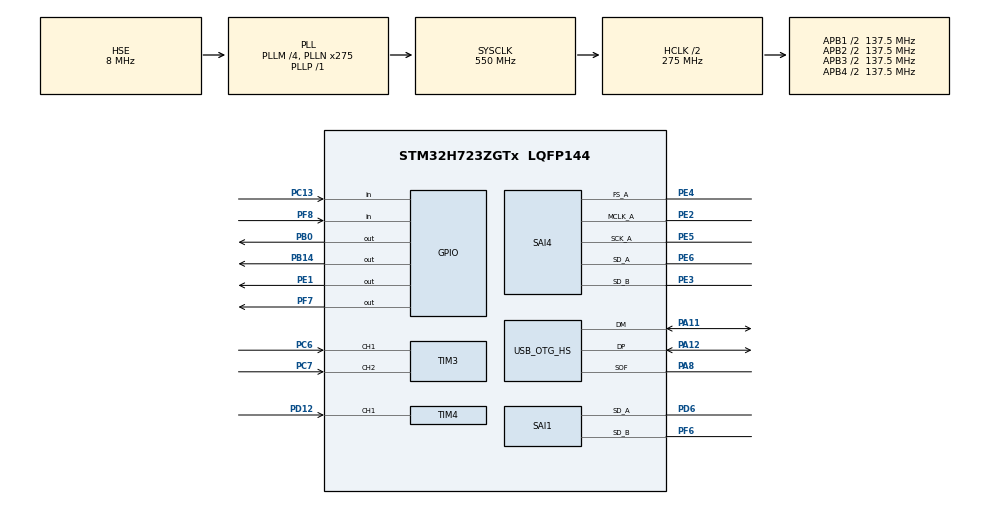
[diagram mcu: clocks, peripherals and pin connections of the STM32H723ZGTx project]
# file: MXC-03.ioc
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Bdma.Request0=SAI4_A
Bdma.Request1=SAI4_B
Bdma.RequestsNb=2
Bdma.SAI4_A.0.Direction=DMA_PERIPH_TO_MEMORY
Bdma.SAI4_A.0.EventEnable=DISABLE
Bdma.SAI4_A.0.Instance=BDMA_Channel0
Bdma.SAI4_A.0.MemDataAlignment=DMA_MDATAALIGN_WORD
Bdma.SAI4_A.0.MemInc=DMA_MINC_ENABLE
Bdma.SAI4_A.0.Mode=DMA_CIRCULAR
Bdma.SAI4_A.0.PeriphDataAlignment=DMA_PDATAALIGN_WORD
Bdma.SAI4_A.0.PeriphInc=DMA_PINC_DISABLE
Bdma.SAI4_A.0.Polarity=HAL_DMAMUX_REQ_GEN_RISING
Bdma.SAI4_A.0.Priority=DMA_PRIORITY_HIGH
Bdma.SAI4_A.0.RequestNumber=1
Bdma.SAI4_A.0.SignalID=NONE
Bdma.SAI4_A.0.SyncEnable=DISABLE
Bdma.SAI4_A.0.SyncPolarity=HAL_DMAMUX_SYNC_NO_EVENT
Bdma.SAI4_A.0.SyncRequestNumber=1
Bdma.SAI4_A.0.SyncSignalID=NONE
Bdma.SAI4_B.1.Direction=DMA_MEMORY_TO_PERIPH
Bdma.SAI4_B.1.EventEnable=DISABLE
Bdma.SAI4_B.1.Instance=BDMA_Channel1
Bdma.SAI4_B.1.MemDataAlignment=DMA_MDATAALIGN_WORD
Bdma.SAI4_B.1.MemInc=DMA_MINC_ENABLE
Bdma.SAI4_B.1.Mode=DMA_CIRCULAR
Bdma.SAI4_B.1.PeriphDataAlignment=DMA_PDATAALIGN_WORD
Bdma.SAI4_B.1.PeriphInc=DMA_PINC_DISABLE
Bdma.SAI4_B.1.Polarity=HAL_DMAMUX_REQ_GEN_RISING
Bdma.SAI4_B.1.Priority=DMA_PRIORITY_VERY_HIGH
Bdma.SAI4_B.1.RequestNumber=1
Bdma.SAI4_B.1.SignalID=NONE
Bdma.SAI4_B.1.SyncEnable=DISABLE
Bdma.SAI4_B.1.SyncPolarity=HAL_DMAMUX_SYNC_NO_EVENT
Bdma.SAI4_B.1.SyncRequestNumber=1
Bdma.SAI4_B.1.SyncSignalID=NONE
CORTEX_M7.AccessPermission_Spec=MPU_REGION_FULL_ACCESS
CORTEX_M7.BaseAddress_Spec=0x24000000
CORTEX_M7.DisableExec_Spec=MPU_INSTRUCTION_ACCESS_DISABLE
CORTEX_M7.IsShareable_Spec=MPU_ACCESS_SHAREABLE
CORTEX_M7.MPU_Control=MPU_PRIVILEGED_DEFAULT
CORTEX_M7.Size_Spec=MPU_REGION_SIZE_512KB
CORTEX_M7.SubRegionDisable_Spec=0x00
CORTEX_M7.TypeExtField_Spec=MPU_TEX_LEVEL1
CORTEX_M7.default_mode_Activation=0
Dma.Request0=SAI1_A
Dma.Request1=SAI1_B
Dma.SAI1_A.0.Direction=DMA_PERIPH_TO_MEMORY
Dma.SAI1_A.0.EventEnable=DISABLE
Dma.SAI1_A.0.FIFOMode=DMA_FIFOMODE_DISABLE
Dma.SAI1_A.0.Instance=DMA1_Stream0
Dma.SAI1_A.0.MemDataAlignment=DMA_MDATAALIGN_WORD
Dma.SAI1_A.0.MemInc=DMA_MINC_ENABLE
Dma.SAI1_A.0.Mode=DMA_CIRCULAR
Dma.SAI1_A.0.PeriphDataAlignment=DMA_PDATAALIGN_WORD
Dma.SAI1_A.0.PeriphInc=DMA_PINC_DISABLE
Dma.SAI1_A.0.Polarity=HAL_DMAMUX_REQ_GEN_RISING
Dma.SAI1_A.0.Priority=DMA_PRIORITY_VERY_HIGH
Dma.SAI1_A.0.RequestNumber=1
Dma.SAI1_A.0.SignalID=NONE
Dma.SAI1_A.0.SyncEnable=DISABLE
Dma.SAI1_A.0.SyncPolarity=HAL_DMAMUX_SYNC_NO_EVENT
Dma.SAI1_A.0.SyncRequestNumber=1
Dma.SAI1_A.0.SyncSignalID=NONE
Dma.SAI1_B.1.Direction=DMA_PERIPH_TO_MEMORY
Dma.SAI1_B.1.EventEnable=DISABLE
Dma.SAI1_B.1.FIFOMode=DMA_FIFOMODE_DISABLE
Dma.SAI1_B.1.Instance=DMA1_Stream1
Dma.SAI1_B.1.MemDataAlignment=DMA_MDATAALIGN_WORD
Dma.SAI1_B.1.MemInc=DMA_MINC_ENABLE
Dma.SAI1_B.1.Mode=DMA_CIRCULAR
Dma.SAI1_B.1.PeriphDataAlignment=DMA_PDATAALIGN_WORD
Dma.SAI1_B.1.PeriphInc=DMA_PINC_DISABLE
Dma.SAI1_B.1.Polarity=HAL_DMAMUX_REQ_GEN_RISING
Dma.SAI1_B.1.Priority=DMA_PRIORITY_VERY_HIGH
Dma.SAI1_B.1.RequestNumber=1
Dma.SAI1_B.1.SignalID=NONE
Dma.SAI1_B.1.SyncEnable=DISABLE
Dma.SAI1_B.1.SyncPolarity=HAL_DMAMUX_SYNC_NO_EVENT
Dma.SAI1_B.1.SyncRequestNumber=1
Dma.SAI1_B.1.SyncSignalID=NONE
Mcu.Family=STM32H7
Mcu.Name=STM32H723ZGTx
Mcu.Package=LQFP144
NUCLEO-H723ZG.BUTTON=1
NUCLEO-H723ZG.LD1=true
NUCLEO-H723ZG.LD2=true
NUCLEO-H723ZG.LD3=true
NUCLEO-H723ZG.VCP=true
NVIC.BDMA_Channel0_IRQn=true\:0\:0\:false\:false\:true\:false\:true\:true
NVIC.BDMA_Channel1_IRQn=true\:0\:0\:false\:false\:true\:false\:true\:true
NVIC.DMA1_Stream0_IRQn=true\:0\:0\:false\:false\:true\:false\:true\:true
NVIC.DMA1_Stream1_IRQn=true\:0\:0\:false\:false\:true\:false\:true\:true
NVIC.EXTI15_10_IRQn=true\:0\:0\:false\:false\:true\:false\:true\:true
NVIC.OTG_HS_EP1_IN_IRQn=true\:0\:0\:false\:false\:true\:true\:true\:true
NVIC.OTG_HS_EP1_OUT_IRQn=true\:0\:0\:false\:false\:true\:true\:true\:true
NVIC.OTG_HS_IRQn=true\:0\:0\:false\:false\:true\:true\:true\:true
NVIC.PriorityGroup=NVIC_PRIORITYGROUP_4
NVIC.SAI4_IRQn=true\:0\:0\:false\:false\:true\:true\:true\:true
PA11.Mode=Device_Only_FS
PA11.Signal=USB_OTG_HS_DM
PA12.Mode=Device_Only_FS
PA12.Signal=USB_OTG_HS_DP
PA13(JTMS/SWDIO).GPIO_Label=SWDIO
PA13(JTMS/SWDIO).Signal=DEBUG_JTMS-SWDIO
PA14(JTCK/SWCLK).GPIO_Label=SWCLK
PA14(JTCK/SWCLK).Signal=DEBUG_JTCK-SWCLK
PA8.Mode=Activate_SOF_FS
PA8.Signal=USB_OTG_HS_SOF
PB0.Signal=GPIO_Output
PB14.Signal=GPIO_Output
PC13.Signal=GPIO_Input
PC14-OSC32_IN.Signal=RCC_OSC32_IN
PC15-OSC32_OUT.Signal=RCC_OSC32_OUT
PC6.GPIO_PuPd=GPIO_PULLUP
PC6.Signal=S_TIM3_CH1
PC7.GPIO_PuPd=GPIO_PULLUP
PC7.Signal=S_TIM3_CH2
PD12.Signal=S_TIM4_CH1
PD6.Mode=SAI_A_SyncSlave
PD6.Signal=SAI1_SD_A
PD8.Signal=USART3_TX
PD9.Signal=USART3_RX
PE1.Signal=GPIO_Output
PE2.Mode=SAI_A_MasterWithClock
PE2.Signal=SAI4_MCLK_A
PE3.Mode=SAI_B_SyncSlave
PE3.Signal=SAI4_SD_B
PE4.Mode=SAI_A_MasterWithClock
PE4.Signal=SAI4_FS_A
PE5.Mode=SAI_A_MasterWithClock
PE5.Signal=SAI4_SCK_A
PE6.Mode=SAI_A_MasterWithClock
PE6.Signal=SAI4_SD_A
PF6.Mode=SAI_B_SyncSlave
PF6.Signal=SAI1_SD_B
PF7.Signal=GPIO_Output
PF8.GPIO_PuPd=GPIO_PULLDOWN
PF8.Signal=GPIO_Input
PH0-OSC_IN.Mode=HSE-External-Clock-Source
PH0-OSC_IN.Signal=RCC_OSC_IN
ProjectManager.HeapSize=0x200
ProjectManager.StackSize=0x400
ProjectManager.TargetToolchain=STM32CubeIDE
RCC.ADCFreq_Value=76000000
RCC.APB1Freq_Value=137500000
RCC.APB2Freq_Value=137500000
RCC.APB3Freq_Value=137500000
RCC.APB4Freq_Value=137500000
RCC.CortexFreq_Value=550000000
RCC.D1PPRE=RCC_APB3_DIV2
RCC.D2PPRE1=RCC_APB1_DIV2
RCC.D2PPRE2=RCC_APB2_DIV2
RCC.D3PPRE=RCC_APB4_DIV2
RCC.DIVM1=4
RCC.DIVM2=1
RCC.DIVM3=5
RCC.DIVN1=275
RCC.DIVN2=19
RCC.DIVN3=192
RCC.DIVP1=1
RCC.DIVP3=25
RCC.DIVQ1=4
RCC.HCLKFreq_Value=275000000
RCC.HPRE=RCC_HCLK_DIV2
RCC.HSE_VALUE=8000000
RCC.PLLFRACN=0
RCC.PLLSourceVirtual=RCC_PLLSOURCE_HSE
RCC.SAI1CLockSelection=RCC_SAI1CLKSOURCE_PLL3
RCC.SAI4ACLockSelection=RCC_SAI4ACLKSOURCE_PLL3
RCC.SAI4BCLockSelection=RCC_SAI4BCLKSOURCE_PLL3
RCC.SYSCLKFreq_VALUE=550000000
RCC.SYSCLKSource=RCC_SYSCLKSOURCE_PLLCLK
RCC.USBCLockSelection=RCC_USBCLKSOURCE_HSI48
RCC.USBFreq_Value=48000000
SAI1.BasicDataSize-SAI_A_SyncSlave=SAI_PROTOCOL_DATASIZE_32BIT
SAI1.BasicDataSize-SAI_B_SyncSlave=SAI_PROTOCOL_DATASIZE_32BIT
SAI1.InitProtocol-SAI_A_SyncSlave=Enable
SAI1.InitProtocol-SAI_B_SyncSlave=Enable
SAI1.Instance-SAI_A_SyncSlave=SAI$Index_Block_A
SAI1.Instance-SAI_B_SyncSlave=SAI$Index_Block_B
SAI1.Synchro_A=SAI_SYNCHRONOUS_EXT_SAI4
SAI1.Synchro_B=SAI_SYNCHRONOUS_EXT_SAI4
SAI1.VirtualMode-SAI_A_SyncSlave=VM_SLAVE
SAI1.VirtualMode-SAI_B_SyncSlave=VM_SLAVE
SAI1.VirtualProtocol-SAI_A_BASIC=VM_BASIC_PROTOCOL
SAI1.VirtualProtocol-SAI_B_BASIC=VM_BASIC_PROTOCOL
SAI4.AudioFrequency-SAI_A_MasterWithClock=SAI_AUDIO_FREQUENCY_48K
SAI4.AudioMode-SAI_A_MasterWithClock=SAI_MODEMASTER_RX
SAI4.AudioMode-SAI_B_SyncSlave=SAI_MODESLAVE_TX
SAI4.BasicDataSize-SAI_A_MasterWithClock=SAI_PROTOCOL_DATASIZE_32BIT
SAI4.BasicDataSize-SAI_B_SyncSlave=SAI_PROTOCOL_DATASIZE_32BIT
SAI4.ErrorAudioFreq-SAI_A_MasterWithClock=0.0 %
SAI4.InitProtocol-SAI_A_MasterWithClock=Enable
SAI4.InitProtocol-SAI_B_SyncSlave=Enable
SAI4.Instance-SAI_A_MasterWithClock=SAI$Index_Block_A
SAI4.Instance-SAI_B_SyncSlave=SAI$Index_Block_B
SAI4.MckOutput-SAI_A_MasterWithClock=SAI_MCK_OUTPUT_ENABLE
SAI4.RealAudioFreq-SAI_A_MasterWithClock=48.0 KHz
SAI4.VirtualMode-SAI_A_MasterWithClock=VM_MASTER
SAI4.VirtualMode-SAI_B_SyncSlave=VM_SLAVE
SAI4.VirtualProtocol-SAI_A_BASIC=VM_BASIC_PROTOCOL
SAI4.VirtualProtocol-SAI_B_BASIC=VM_BASIC_PROTOCOL
SH.S_TIM3_CH1.0=TIM3_CH1,Encoder_Interface
SH.S_TIM3_CH2.0=TIM3_CH2,Encoder_Interface
SH.S_TIM4_CH1.0=TIM4_CH1,TriggerSource_TI1FP1
TIM3.EncoderMode=TIM_ENCODERMODE_TI12
TIM3.IC1Filter=10
TIM3.IC2Filter=10
TIM3.TIM_MasterSlaveMode=TIM_MASTERSLAVEMODE_DISABLE
USB_DEVICE.CLASS_NAME_HS=AUDIO
USB_DEVICE.PRODUCT_STRING_AUDIO_HS=MXC-03
USB_DEVICE.USBD_AUDIO_FREQ=48000
USB_DEVICE.VirtualMode=Audio
USB_DEVICE.VirtualModeHS=Audio_HS
USB_OTG_HS.VirtualMode-Device_Only_FS=Device_Only_FS
USB_OTG_HS.dma_enable-Device_Only_FS=DISABLE
VP_MEMORYMAP_VS_MEMORYMAP.Mode=CurAppReg
VP_NUCLEO-H723ZG_VS_BSP_COMMON.Mode=COMMON
VP_SAI1_VP_$IpInstance_SAIA_SAI_BASIC.Mode=SAI_A_BASIC
VP_SAI1_VP_$IpInstance_SAIB_SAI_BASIC.Mode=SAI_B_BASIC
VP_SAI4_VP_$IpInstance_SAIA_SAI_BASIC.Mode=SAI_A_BASIC
VP_SAI4_VP_$IpInstance_SAIB_SAI_BASIC.Mode=SAI_B_BASIC
VP_TIM4_VS_ControllerModeClock.Mode=Clock Mode
VP_USB_DEVICE_VS_USB_DEVICE_AUDIO_HS.Mode=AUDIO_HS
board=NUCLEO-H723ZG

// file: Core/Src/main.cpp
/* USER CODE BEGIN Header */
/**
 ******************************************************************************
 * @file           : main.cpp
 * @brief          : Main program body
 ******************************************************************************
 * @attention
 *
 * Copyright (c) 2026 STMicroelectronics.
 * All rights reserved.
 *
 * This software is licensed under terms that can be found in the LICENSE file
 * in the root directory of this software component.
 * If no LICENSE file comes with this software, it is provided AS-IS.
 *
 ******************************************************************************
 */
/* USER CODE END Header */
#include "main.h"
#include "usb_device.h"

/* USER CODE BEGIN Includes */
#include "audio_system.hpp"
#include "effects_chain.hpp"
#include "ui_controller.hpp"
#include "ui_input_manager.hpp"
#include "usbd_audio.h"

/* USER CODE END Includes */

/* USER CODE BEGIN PD */
namespace LinkSync {
constexpr uint16_t DummyPatternWord{0x96A5};
constexpr uint32_t StableBlocksRequired{8};
constexpr uint32_t LockCheckWords{32};
constexpr uint32_t FrontUsbFadeInFrames{AudioConfig::SampleRate / 50U};
}

/* USER CODE END PD */

COM_InitTypeDef BspCOMInit;

SAI_HandleTypeDef hsai_BlockA1;
SAI_HandleTypeDef hsai_BlockB1;
SAI_HandleTypeDef hsai_BlockA4;
SAI_HandleTypeDef hsai_BlockB4;
DMA_HandleTypeDef hdma_sai1_a;
DMA_HandleTypeDef hdma_sai1_b;
DMA_HandleTypeDef hdma_sai4_a;
DMA_HandleTypeDef hdma_sai4_b;

TIM_HandleTypeDef htim3;
TIM_HandleTypeDef htim4;

/* USER CODE BEGIN PV */
extern UART_HandleTypeDef hcom_uart[];
volatile uint32_t gFrontUsbStableBlocks{0};
volatile uint32_t gFrontUsbLockAcquired{0};
volatile uint32_t gF411ReadyWasAsserted{0};
volatile uint32_t gFrontUsbFadeFrameIndex{0};
volatile uint32_t gFrontUsbFadeActive{0};
volatile uint32_t g_debug_samples_in = 0;
volatile uint32_t g_debug_samples_out = 0;
volatile uint32_t g_debug_dma_half_callbacks = 0;
volatile uint32_t g_debug_dma_full_callbacks = 0;

volatile uint32_t debug{0};
/* USER CODE END PV */

void SystemClock_Config(void);
void PeriphCommonClock_Config(void);
static void MPU_Config(void);
static void MX_GPIO_Init(void);
static void MX_DMA_Init(void);
static void MX_BDMA_Init(void);
static void MX_TIM3_Init(void);
static void MX_SAI1_Init(void);
static void MX_SAI4_Init(void);
static void MX_TIM4_Init(void);

/* USER CODE BEGIN 0 */
static void setH723Ready(bool active) {
  HAL_GPIO_WritePin(H723_READY_OUT_GPIO_Port, H723_READY_OUT_Pin,
                    active ? GPIO_PIN_SET : GPIO_PIN_RESET);
}

static bool isF411ReadyAsserted() {
  return HAL_GPIO_ReadPin(F411_READY_IN_GPIO_Port, F411_READY_IN_Pin) ==
         GPIO_PIN_SET;
}

static void clearFrontUsbLockState() {
  gFrontUsbStableBlocks = 0;
  gFrontUsbLockAcquired = 0;
  gFrontUsbFadeFrameIndex = 0;
  gFrontUsbFadeActive = 0;
  setH723Ready(false);
}

static void clearFrontUsbRxBuffer() {
  std::fill(frontUSBRxBuffer.begin(), frontUSBRxBuffer.end(), 0);
}

static bool isDummyPatternStable(uint32_t start) {
  const uint32_t maxWords = AudioConfig::DMABufferSize - start;
  const uint32_t wordsToCheck =
      (LinkSync::LockCheckWords < maxWords) ? LinkSync::LockCheckWords
                                            : maxWords;

  for (uint32_t i = 0; i < wordsToCheck; ++i) {
    const uint16_t sample =
        static_cast<uint16_t>(frontUSBRxBuffer[start + i] & 0xFFFF);
    if (sample != LinkSync::DummyPatternWord) {
      return false;
    }
  }

  return true;
}

static void analyzeFrontUsbBlock(uint32_t start) {
  if (!isF411ReadyAsserted()) {
    clearFrontUsbLockState();
    return;
  }

  const bool isStableBlock = isDummyPatternStable(start);

  if (isStableBlock) {
    if (gFrontUsbStableBlocks < LinkSync::StableBlocksRequired) {
      ++gFrontUsbStableBlocks;
    }
  } else {
    gFrontUsbStableBlocks = 0;
  }

  if (gFrontUsbStableBlocks >= LinkSync::StableBlocksRequired) {
    if (gFrontUsbLockAcquired == 0U) {
      gFrontUsbFadeFrameIndex = 0;
      gFrontUsbFadeActive = 1;
      gFrontUsbLockAcquired = 1;
      setH723Ready(true);
    }
  }
}

/* USER CODE END 0 */

int main(void)
{

  /* USER CODE BEGIN 1 */
  // Initialize effects chain
  FX::initializeChain();

  // Initialize UI
  UI::initialize();
  /* USER CODE END 1 */

  /* MPU Configuration--------------------------------------------------------*/
  MPU_Config();

  /* MCU Configuration--------------------------------------------------------*/

  /* Reset of all peripherals, Initializes the Flash interface and the Systick. */
  HAL_Init();

  /* Configure the system clock */
  SystemClock_Config();

  /* Configure the peripherals common clocks */
  PeriphCommonClock_Config();

  /* Initialize all configured peripherals */
  MX_GPIO_Init();
  MX_DMA_Init();
  MX_BDMA_Init();
  MX_TIM3_Init();
  MX_USB_DEVICE_Init();
  MX_SAI1_Init();
  MX_SAI4_Init();
  MX_TIM4_Init();
  /* USER CODE BEGIN 2 */
  auto *pMonitorTx{reinterpret_cast<uint8_t *>(monitorTxBuffer.data())};
  auto *pADCRx{reinterpret_cast<uint8_t *>(ADCRxBuffer.data())};
  auto *pFrontUSBRx{reinterpret_cast<uint8_t *>(frontUSBRxBuffer.data())};
  auto *pRearUSBRx{reinterpret_cast<uint8_t *>(rearUSBRxBuffer.data())};

  setH723Ready(false);

  // Arm SAI1 RX first so H723 is ready to capture immediately when F411 starts.
  if (HAL_SAI_Receive_DMA(&hsai_BlockA1, pFrontUSBRx,
                          AudioConfig::DMABufferSize) != HAL_OK) {
    Error_Handler();
  }
  if (HAL_SAI_Receive_DMA(&hsai_BlockB1, pRearUSBRx,
                          AudioConfig::DMABufferSize) != HAL_OK) {
    Error_Handler();
  }

  // Start SAI4 path immediately so H723 can run standalone.
  if (HAL_SAI_Transmit_DMA(&hsai_BlockB4, pMonitorTx,
                           AudioConfig::DMABufferSize) != HAL_OK) {
    Error_Handler();
  }
  if (HAL_SAI_Receive_DMA(&hsai_BlockA4, pADCRx, AudioConfig::DMABufferSize) !=
      HAL_OK) {
    Error_Handler();
  }
  if (HAL_TIM_Base_Start(&htim4) != HAL_OK) {
    Error_Handler();
  }
  if (HAL_TIM_Encoder_Start(&htim3, TIM_CHANNEL_ALL) != HAL_OK) {
    Error_Handler();
  }

  UI::render();
  /* USER CODE END 2 */

  /* Initialize leds */
  BSP_LED_Init(LED_GREEN);
  BSP_LED_Init(LED_YELLOW);
  BSP_LED_Init(LED_RED);

  /* Initialize USER push-button, will be used to trigger an interrupt each time it's pressed.*/
  BSP_PB_Init(BUTTON_USER, BUTTON_MODE_EXTI);

  /* Initialize COM1 port (115200, 8 bits (7-bit data + 1 stop bit), no parity */
  BspCOMInit.BaudRate   = 115200;
  BspCOMInit.WordLength = COM_WORDLENGTH_8B;
  BspCOMInit.StopBits   = COM_STOPBITS_1;
  BspCOMInit.Parity     = COM_PARITY_NONE;
  BspCOMInit.HwFlowCtl  = COM_HWCONTROL_NONE;
  if (BSP_COM_Init(COM1, &BspCOMInit) != BSP_ERROR_NONE)
  {
    Error_Handler();
  }

  /* Infinite loop */
  /* USER CODE BEGIN WHILE */
  HAL_NVIC_SetPriority(USART3_IRQn, 0, 0);
  HAL_NVIC_EnableIRQ(USART3_IRQn);
  UiInput::initialize(htim3, hcom_uart[COM1]);
  gF411ReadyWasAsserted = isF411ReadyAsserted() ? 1U : 0U;

  while (1) {
    const bool isReadyNow = isF411ReadyAsserted();
    if (!isReadyNow) {
      if (gF411ReadyWasAsserted != 0U) {
        clearFrontUsbRxBuffer();
      }

      if (gFrontUsbLockAcquired != 0U || gFrontUsbStableBlocks != 0U) {
        clearFrontUsbLockState();
      }
    }
    gF411ReadyWasAsserted = isReadyNow ? 1U : 0U;

    debug = (int32_t)mainUSBRxBuffer.getAvailableFrames();

    UiInput::processLoop();
    /* USER CODE END WHILE */

  }
}

void SystemClock_Config(void)
{
  RCC_OscInitTypeDef RCC_OscInitStruct = {0};
  RCC_ClkInitTypeDef RCC_ClkInitStruct = {0};

  /** Supply configuration update enable
  */
  HAL_PWREx_ConfigSupply(PWR_LDO_SUPPLY);

  /** Configure the main internal regulator output voltage
  */
  __HAL_PWR_VOLTAGESCALING_CONFIG(PWR_REGULATOR_VOLTAGE_SCALE0);

  while(!__HAL_PWR_GET_FLAG(PWR_FLAG_VOSRDY)) {}

  /** Initializes the RCC Oscillators according to the specified parameters
  * in the RCC_OscInitTypeDef structure.
  */
  RCC_OscInitStruct.OscillatorType = RCC_OSCILLATORTYPE_HSI48|RCC_OSCILLATORTYPE_HSE;
  RCC_OscInitStruct.HSEState = RCC_HSE_BYPASS;
  RCC_OscInitStruct.HSI48State = RCC_HSI48_ON;
  RCC_OscInitStruct.PLL.PLLState = RCC_PLL_ON;
  RCC_OscInitStruct.PLL.PLLSource = RCC_PLLSOURCE_HSE;
  RCC_OscInitStruct.PLL.PLLM = 4;
  RCC_OscInitStruct.PLL.PLLN = 275;
  RCC_OscInitStruct.PLL.PLLP = 1;
  RCC_OscInitStruct.PLL.PLLQ = 4;
  RCC_OscInitStruct.PLL.PLLR = 2;
  RCC_OscInitStruct.PLL.PLLRGE = RCC_PLL1VCIRANGE_1;
  RCC_OscInitStruct.PLL.PLLVCOSEL = RCC_PLL1VCOWIDE;
  RCC_OscInitStruct.PLL.PLLFRACN = 0;
  if (HAL_RCC_OscConfig(&RCC_OscInitStruct) != HAL_OK)
  {
    Error_Handler();
  }

  /** Initializes the CPU, AHB and APB buses clocks
  */
  RCC_ClkInitStruct.ClockType = RCC_CLOCKTYPE_HCLK|RCC_CLOCKTYPE_SYSCLK
                              |RCC_CLOCKTYPE_PCLK1|RCC_CLOCKTYPE_PCLK2
                              |RCC_CLOCKTYPE_D3PCLK1|RCC_CLOCKTYPE_D1PCLK1;
  RCC_ClkInitStruct.SYSCLKSource = RCC_SYSCLKSOURCE_PLLCLK;
  RCC_ClkInitStruct.SYSCLKDivider = RCC_SYSCLK_DIV1;
  RCC_ClkInitStruct.AHBCLKDivider = RCC_HCLK_DIV2;
  RCC_ClkInitStruct.APB3CLKDivider = RCC_APB3_DIV2;
  RCC_ClkInitStruct.APB1CLKDivider = RCC_APB1_DIV2;
  RCC_ClkInitStruct.APB2CLKDivider = RCC_APB2_DIV2;
  RCC_ClkInitStruct.APB4CLKDivider = RCC_APB4_DIV2;

  if (HAL_RCC_ClockConfig(&RCC_ClkInitStruct, FLASH_LATENCY_3) != HAL_OK)
  {
    Error_Handler();
  }
}

void PeriphCommonClock_Config(void)
{
  RCC_PeriphCLKInitTypeDef PeriphClkInitStruct = {0};

  /** Initializes the peripherals clock
  */
  PeriphClkInitStruct.PeriphClockSelection = RCC_PERIPHCLK_SAI4A|RCC_PERIPHCLK_SAI4B
                              |RCC_PERIPHCLK_SAI1;
  PeriphClkInitStruct.PLL3.PLL3M = 5;
  PeriphClkInitStruct.PLL3.PLL3N = 190;
  PeriphClkInitStruct.PLL3.PLL3P = 25;
  PeriphClkInitStruct.PLL3.PLL3Q = 2;
  PeriphClkInitStruct.PLL3.PLL3R = 2;
  PeriphClkInitStruct.PLL3.PLL3RGE = RCC_PLL3VCIRANGE_0;
  PeriphClkInitStruct.PLL3.PLL3VCOSEL = RCC_PLL3VCOMEDIUM;
  PeriphClkInitStruct.PLL3.PLL3FRACN = 3385;
  PeriphClkInitStruct.Sai1ClockSelection = RCC_SAI1CLKSOURCE_PLL3;
  PeriphClkInitStruct.Sai4AClockSelection = RCC_SAI4ACLKSOURCE_PLL3;
  PeriphClkInitStruct.Sai4BClockSelection = RCC_SAI4BCLKSOURCE_PLL3;
  if (HAL_RCCEx_PeriphCLKConfig(&PeriphClkInitStruct) != HAL_OK)
  {
    Error_Handler();
  }
}

static void MX_SAI1_Init(void)
{

  hsai_BlockA1.Instance = SAI1_Block_A;
  hsai_BlockA1.Init.AudioMode = SAI_MODESLAVE_RX;
  hsai_BlockA1.Init.Synchro = SAI_SYNCHRONOUS_EXT_SAI4;
  hsai_BlockA1.Init.OutputDrive = SAI_OUTPUTDRIVE_DISABLE;
  hsai_BlockA1.Init.FIFOThreshold = SAI_FIFOTHRESHOLD_EMPTY;
  hsai_BlockA1.Init.MonoStereoMode = SAI_STEREOMODE;
  hsai_BlockA1.Init.CompandingMode = SAI_NOCOMPANDING;
  hsai_BlockA1.Init.TriState = SAI_OUTPUT_NOTRELEASED;
  if (HAL_SAI_InitProtocol(&hsai_BlockA1, SAI_I2S_STANDARD,
                           SAI_PROTOCOL_DATASIZE_16BITEXTENDED, 2) != HAL_OK) {
    Error_Handler();
  }
  hsai_BlockB1.Instance = SAI1_Block_B;
  hsai_BlockB1.Init.AudioMode = SAI_MODESLAVE_RX;
  hsai_BlockB1.Init.Synchro = SAI_SYNCHRONOUS_EXT_SAI4;
  hsai_BlockB1.Init.OutputDrive = SAI_OUTPUTDRIVE_DISABLE;
  hsai_BlockB1.Init.FIFOThreshold = SAI_FIFOTHRESHOLD_EMPTY;
  hsai_BlockB1.Init.MonoStereoMode = SAI_STEREOMODE;
  hsai_BlockB1.Init.CompandingMode = SAI_NOCOMPANDING;
  hsai_BlockB1.Init.TriState = SAI_OUTPUT_NOTRELEASED;
  if (HAL_SAI_InitProtocol(&hsai_BlockB1, SAI_I2S_STANDARD,
                           SAI_PROTOCOL_DATASIZE_16BITEXTENDED, 2) != HAL_OK) {
    Error_Handler();
  }

}

static void MX_SAI4_Init(void)
{

  hsai_BlockA4.Instance = SAI4_Block_A;
  hsai_BlockA4.Init.AudioMode = SAI_MODEMASTER_RX;
  hsai_BlockA4.Init.Synchro = SAI_ASYNCHRONOUS;
  hsai_BlockA4.Init.OutputDrive = SAI_OUTPUTDRIVE_DISABLE;
  hsai_BlockA4.Init.NoDivider = SAI_MASTERDIVIDER_ENABLE;
  hsai_BlockA4.Init.FIFOThreshold = SAI_FIFOTHRESHOLD_EMPTY;
  hsai_BlockA4.Init.AudioFrequency = SAI_AUDIO_FREQUENCY_48K;
  hsai_BlockA4.Init.SynchroExt = SAI_SYNCEXT_OUTBLOCKA_ENABLE;
  hsai_BlockA4.Init.MonoStereoMode = SAI_STEREOMODE;
  hsai_BlockA4.Init.CompandingMode = SAI_NOCOMPANDING;
  if (HAL_SAI_InitProtocol(&hsai_BlockA4, SAI_I2S_STANDARD,
                           SAI_PROTOCOL_DATASIZE_32BIT, 2) != HAL_OK) {
    Error_Handler();
  }
  hsai_BlockB4.Instance = SAI4_Block_B;
  hsai_BlockB4.Init.AudioMode = SAI_MODESLAVE_TX;
  hsai_BlockB4.Init.Synchro = SAI_SYNCHRONOUS;
  hsai_BlockB4.Init.OutputDrive = SAI_OUTPUTDRIVE_DISABLE;
  hsai_BlockB4.Init.FIFOThreshold = SAI_FIFOTHRESHOLD_EMPTY;
  hsai_BlockB4.Init.SynchroExt = SAI_SYNCEXT_OUTBLOCKA_ENABLE;
  hsai_BlockB4.Init.MonoStereoMode = SAI_STEREOMODE;
  hsai_BlockB4.Init.CompandingMode = SAI_NOCOMPANDING;
  hsai_BlockB4.Init.TriState = SAI_OUTPUT_NOTRELEASED;
  if (HAL_SAI_InitProtocol(&hsai_BlockB4, SAI_I2S_STANDARD,
                           SAI_PROTOCOL_DATASIZE_32BIT, 2) != HAL_OK) {
    Error_Handler();
  }

}

static void MX_TIM3_Init(void)
{

  TIM_Encoder_InitTypeDef sConfig = {0};
  TIM_MasterConfigTypeDef sMasterConfig = {0};

  htim3.Instance = TIM3;
  htim3.Init.Prescaler = 0;
  htim3.Init.CounterMode = TIM_COUNTERMODE_UP;
  htim3.Init.Period = 65535;
  htim3.Init.ClockDivision = TIM_CLOCKDIVISION_DIV1;
  htim3.Init.AutoReloadPreload = TIM_AUTORELOAD_PRELOAD_DISABLE;
  sConfig.EncoderMode = TIM_ENCODERMODE_TI12;
  sConfig.IC1Polarity = TIM_ICPOLARITY_RISING;
  sConfig.IC1Selection = TIM_ICSELECTION_DIRECTTI;
  sConfig.IC1Prescaler = TIM_ICPSC_DIV1;
  sConfig.IC1Filter = 10;
  sConfig.IC2Polarity = TIM_ICPOLARITY_RISING;
  sConfig.IC2Selection = TIM_ICSELECTION_DIRECTTI;
  sConfig.IC2Prescaler = TIM_ICPSC_DIV1;
  sConfig.IC2Filter = 10;
  if (HAL_TIM_Encoder_Init(&htim3, &sConfig) != HAL_OK)
  {
    Error_Handler();
  }
  sMasterConfig.MasterOutputTrigger = TIM_TRGO_RESET;
  sMasterConfig.MasterSlaveMode = TIM_MASTERSLAVEMODE_DISABLE;
  if (HAL_TIMEx_MasterConfigSynchronization(&htim3, &sMasterConfig) != HAL_OK)
  {
    Error_Handler();
  }

}

static void MX_TIM4_Init(void)
{

  TIM_SlaveConfigTypeDef sSlaveConfig = {0};
  TIM_MasterConfigTypeDef sMasterConfig = {0};
  TIM_IC_InitTypeDef sICConfig = {0};

  htim4.Instance = TIM4;
  htim4.Init.Prescaler = 0;
  htim4.Init.CounterMode = TIM_COUNTERMODE_UP;
  htim4.Init.Period = 65535;
  htim4.Init.ClockDivision = TIM_CLOCKDIVISION_DIV1;
  htim4.Init.AutoReloadPreload = TIM_AUTORELOAD_PRELOAD_DISABLE;
  if (HAL_TIM_Base_Init(&htim4) != HAL_OK)
  {
    Error_Handler();
  }
  sSlaveConfig.SlaveMode = TIM_SLAVEMODE_EXTERNAL1;
  sSlaveConfig.InputTrigger = TIM_TS_TI1FP1;
  sSlaveConfig.TriggerPolarity = TIM_TRIGGERPOLARITY_RISING;
  sSlaveConfig.TriggerFilter = 0;
  if (HAL_TIM_SlaveConfigSynchro(&htim4, &sSlaveConfig) != HAL_OK)
  {
    Error_Handler();
  }
  sICConfig.ICPolarity = TIM_INPUTCHANNELPOLARITY_RISING;
  sICConfig.ICSelection = TIM_ICSELECTION_DIRECTTI;
  sICConfig.ICPrescaler = TIM_ICPSC_DIV1;
  sICConfig.ICFilter = 0;
  if (HAL_TIM_IC_ConfigChannel(&htim4, &sICConfig, TIM_CHANNEL_1) != HAL_OK)
  {
    Error_Handler();
  }
  sMasterConfig.MasterOutputTrigger = TIM_TRGO_RESET;
  sMasterConfig.MasterSlaveMode = TIM_MASTERSLAVEMODE_DISABLE;
  if (HAL_TIMEx_MasterConfigSynchronization(&htim4, &sMasterConfig) != HAL_OK)
  {
    Error_Handler();
  }

}

static void MX_BDMA_Init(void)
{

  /* DMA controller clock enable */
  __HAL_RCC_BDMA_CLK_ENABLE();

  /* DMA interrupt init */
  /* BDMA_Channel0_IRQn interrupt configuration */
  HAL_NVIC_SetPriority(BDMA_Channel0_IRQn, 0, 0);
  HAL_NVIC_EnableIRQ(BDMA_Channel0_IRQn);
  /* BDMA_Channel1_IRQn interrupt configuration */
  HAL_NVIC_SetPriority(BDMA_Channel1_IRQn, 0, 0);
  HAL_NVIC_EnableIRQ(BDMA_Channel1_IRQn);

}

static void MX_DMA_Init(void)
{

  /* DMA controller clock enable */
  __HAL_RCC_DMA1_CLK_ENABLE();

  /* DMA interrupt init */
  /* DMA1_Stream0_IRQn interrupt configuration */
  HAL_NVIC_SetPriority(DMA1_Stream0_IRQn, 0, 0);
  HAL_NVIC_EnableIRQ(DMA1_Stream0_IRQn);
  /* DMA1_Stream1_IRQn interrupt configuration */
  HAL_NVIC_SetPriority(DMA1_Stream1_IRQn, 0, 0);
  HAL_NVIC_EnableIRQ(DMA1_Stream1_IRQn);

}

static void MX_GPIO_Init(void)
{
  GPIO_InitTypeDef GPIO_InitStruct = {0};

  /* GPIO Ports Clock Enable */
  __HAL_RCC_GPIOE_CLK_ENABLE();
  __HAL_RCC_GPIOC_CLK_ENABLE();
  __HAL_RCC_GPIOF_CLK_ENABLE();
  __HAL_RCC_GPIOH_CLK_ENABLE();
  __HAL_RCC_GPIOD_CLK_ENABLE();
  __HAL_RCC_GPIOA_CLK_ENABLE();

  /*Configure GPIO pin Output Level */
  HAL_GPIO_WritePin(GPIOF, GPIO_PIN_7, GPIO_PIN_RESET);

  /*Configure GPIO pin : PF7 */
  GPIO_InitStruct.Pin = GPIO_PIN_7;
  GPIO_InitStruct.Mode = GPIO_MODE_OUTPUT_PP;
  GPIO_InitStruct.Pull = GPIO_NOPULL;
  GPIO_InitStruct.Speed = GPIO_SPEED_FREQ_LOW;
  HAL_GPIO_Init(GPIOF, &GPIO_InitStruct);

  /*Configure GPIO pin : PF8 */
  GPIO_InitStruct.Pin = GPIO_PIN_8;
  GPIO_InitStruct.Mode = GPIO_MODE_INPUT;
  GPIO_InitStruct.Pull = GPIO_PULLDOWN;
  HAL_GPIO_Init(GPIOF, &GPIO_InitStruct);

}

/* USER CODE BEGIN 4 */

// --- Hardware / HAL Callbacks (C Linkage) ---
// These functions must use C linkage to be visible to the STM32 HAL drivers.
extern "C" {
void mainUSBRxBufferReset() { mainUSBRxBuffer.reset(); }
void mainUSBRxBufferWrite(int16_t *data, uint32_t length) {
  mainUSBRxBuffer.write(data, length);
}

int32_t mainUSBRxBufferGetAvailableFrames(void) {
  return (int32_t)mainUSBRxBuffer.getAvailableFrames();
}

uint32_t mainUSBTxBufferReadBlock(int16_t *dest, uint32_t samples_to_read) {
	// 1フレーム = 2サンプル(Stereo) なので、必要なフレーム数は samples_to_read / 2
	uint32_t frames_to_read = samples_to_read / 2U;

	if (mainUSBTxBuffer.getAvailableFrames() < frames_to_read) {
		return 0U; // アンダーラン
	}

	// ブロック読み出し: read(T* dest, size_t count)
	// ※引数が「サンプル数」指定なら samples_to_read、「フレーム数」指定なら frames_to_read を渡してください
	// 一般的な AudioRingBuffer 実装に合わせて samples_to_read を渡す例:
	mainUSBTxBuffer.read(dest, samples_to_read);
	return samples_to_read;
}

uint32_t mainUSBTxBufferGetCount(void) {
	// 利用可能なサンプル数を返す (フレーム数 * 2)
	return static_cast<uint32_t>(mainUSBTxBuffer.getAvailableFrames() * 2U);
}

static void processADCMonoLeftChannelInput(uint32_t start,
                                                  uint32_t numFrames) {
  for (uint32_t i = start, j = 0; j < numFrames; ++j, i += 2) {
    float32_t leftSample{static_cast<float32_t>(ADCRxBuffer[i]) *
                         Audio::Convert::Int32ToFloat};
    Mixer::chLeft[j] = leftSample * Mixer::param.gainADCLeft;
    Mixer::chRight[j] = leftSample * Mixer::param.gainADCLeft;
  }
}

static void processADCMonoRightChannelInput(uint32_t start,
                                                   uint32_t numFrames) {
  for (uint32_t i = start, j = 0; j < numFrames; ++j, i += 2) {
    float32_t rightSample{static_cast<float32_t>(ADCRxBuffer[i + 1]) *
                          Audio::Convert::Int32ToFloat};
    Mixer::chLeft[j] += rightSample * Mixer::param.gainADCRight;
    Mixer::chRight[j] += rightSample * Mixer::param.gainADCRight;
  }
}

[[maybe_unused]] static void processADCStereoInput(uint32_t start,
                                                   uint32_t numFrames) {
  for (uint32_t i = start, j = 0; j < numFrames; ++j, i += 2) {
    float32_t leftSample{static_cast<float32_t>(ADCRxBuffer[i]) *
                         Audio::Convert::Int32ToFloat};
    float32_t rightSample{static_cast<float32_t>(ADCRxBuffer[i + 1]) *
                          Audio::Convert::Int32ToFloat};

    Mixer::chLeft[j] = leftSample * Mixer::param.gainADCLeft;
    Mixer::chRight[j] = rightSample * Mixer::param.gainADCRight;
  }
}

static void processFX(uint32_t numFrames) {
  for (uint32_t i = 0; i < FX::MaxChainCount; ++i) {
    if (FX::effectChain[i] != nullptr && !FX::isBypassed[i]) {
      FX::effectChain[i]->process(Mixer::chLeft.data(), Mixer::chRight.data(),
                                  numFrames);
    }
  }
}

static void mixMainUSBAudio(uint32_t numFrames, uint32_t numSamples) {
  static std::array<int16_t, AudioConfig::FramesPerBlock * 2> usbTemp;

  std::fill(usbTemp.begin(), usbTemp.end(), 0);
  mainUSBRxBuffer.read(usbTemp.data(), numSamples);
  g_debug_samples_out += numSamples;

  for (uint32_t j = 0; j < numFrames; ++j) {
    float32_t usbLeft =
        static_cast<float32_t>(usbTemp[j * 2]) * Audio::Convert::Int16ToFloat;
    float32_t usbRight = static_cast<float32_t>(usbTemp[j * 2 + 1]) *
                         Audio::Convert::Int16ToFloat;
    Mixer::chLeft[j] += usbLeft * Mixer::param.gainMainUSB;
    Mixer::chRight[j] += usbRight * Mixer::param.gainMainUSB;
  }
}

static void mixFrontUSBAudio(uint32_t start, uint32_t numFrames) {
  if (gFrontUsbLockAcquired == 0U) {
    return;
  }

  for (uint32_t i = start, j = 0; j < numFrames; ++j, i += 2) {
    int16_t usbLeftRaw = static_cast<int16_t>(frontUSBRxBuffer[i] & 0xFFFF);
    int16_t usbRightRaw =
        static_cast<int16_t>(frontUSBRxBuffer[i + 1] & 0xFFFF);
    float32_t usbLeft =
        static_cast<float32_t>(usbLeftRaw) * Audio::Convert::Int16ToFloat;
    float32_t usbRight =
        static_cast<float32_t>(usbRightRaw) * Audio::Convert::Int16ToFloat;

    float32_t fadeGain{1.0f};
    if (gFrontUsbFadeActive != 0U) {
      if (gFrontUsbFadeFrameIndex < LinkSync::FrontUsbFadeInFrames) {
        fadeGain = static_cast<float32_t>(gFrontUsbFadeFrameIndex) /
                   static_cast<float32_t>(LinkSync::FrontUsbFadeInFrames);
        ++gFrontUsbFadeFrameIndex;
      } else {
        gFrontUsbFadeActive = 0U;
      }
    }

    Mixer::chLeft[j] += usbLeft * Mixer::param.gainFrontUSB * fadeGain;
    Mixer::chRight[j] += usbRight * Mixer::param.gainFrontUSB * fadeGain;
  }
}

static void mixRearUSBAudio(uint32_t start, uint32_t numFrames) {
  for (uint32_t i = start, j = 0; j < numFrames; ++j, i += 2) {
    int16_t usbLeftRaw = static_cast<int16_t>(rearUSBRxBuffer[i] & 0xFFFF);
    int16_t usbRightRaw =
        static_cast<int16_t>(rearUSBRxBuffer[i + 1] & 0xFFFF);
    float32_t usbLeft =
        static_cast<float32_t>(usbLeftRaw) * Audio::Convert::Int16ToFloat;
    float32_t usbRight =
        static_cast<float32_t>(usbRightRaw) * Audio::Convert::Int16ToFloat;

    Mixer::chLeft[j] += usbLeft * Mixer::param.gainRearUSB;
    Mixer::chRight[j] += usbRight * Mixer::param.gainRearUSB;
  }
}

static void processOutput(uint32_t start, uint32_t numFrames) {
  for (uint32_t i = start, j = 0; j < numFrames; ++j, i += 2) {
    monitorTxBuffer[i] =
        __SSAT(static_cast<int32_t>(Mixer::chLeft[j] * Mixer::param.gainMaster *
                                    Audio::Convert::FloatToInt32),
               32);
    monitorTxBuffer[i + 1] = __SSAT(
        static_cast<int32_t>(Mixer::chRight[j] * Mixer::param.gainMaster *
                             Audio::Convert::FloatToInt32),
        32);
  }
}

static void sendProcessedADCToUsbRecord(uint32_t numFrames) {
  // 1ブロック分のステレオサンプル一時バッファ (numFrames * 2 サンプル)
  static std::array<int16_t, AudioConfig::FramesPerBlock * 2> recordTemp;

  for (uint32_t j = 0; j < numFrames; ++j) {
    int32_t leftInt = __SSAT(
        static_cast<int32_t>(Mixer::chLeft[j] * Audio::Convert::FloatToInt16), 16);
    int32_t rightInt = __SSAT(
        static_cast<int32_t>(Mixer::chRight[j] * Audio::Convert::FloatToInt16), 16);

    recordTemp[j * 2]     = static_cast<int16_t>(leftInt);
    recordTemp[j * 2 + 1] = static_cast<int16_t>(rightInt);
  }

  // ブロック書き込み: write(const T* src, size_t count)
  // numFrames * 2 サンプルを一括で投入
  mainUSBTxBuffer.write(recordTemp.data(), numFrames * 2U);
}

static void handleAudioBlock(uint32_t start, uint32_t end) {
  const uint32_t numSamples{end - start};
  const uint32_t numFrames{numSamples / 2};

  processADCMonoLeftChannelInput(start, numFrames);
  processADCMonoRightChannelInput(start, numFrames);
  processFX(numFrames);
  sendProcessedADCToUsbRecord(numFrames);
  mixMainUSBAudio(numFrames, numSamples);
  mixFrontUSBAudio(start, numFrames);
  mixRearUSBAudio(start, numFrames);
  processOutput(start, numFrames);
}

void HAL_SAI_RxHalfCpltCallback(SAI_HandleTypeDef *hsai) {
  if (hsai == &hsai_BlockA1) {
    analyzeFrontUsbBlock(0);
  }
  if (hsai == &hsai_BlockA4) {
    ++g_debug_dma_half_callbacks;
    handleAudioBlock(0, AudioConfig::DMABufferSize / 2);
  }
}

void HAL_SAI_RxCpltCallback(SAI_HandleTypeDef *hsai) {
  if (hsai == &hsai_BlockA1) {
    analyzeFrontUsbBlock(AudioConfig::DMABufferSize / 2);
  }
  if (hsai == &hsai_BlockA4) {
    ++g_debug_dma_full_callbacks;
    handleAudioBlock(AudioConfig::DMABufferSize / 2,
                     AudioConfig::DMABufferSize);
  }
}

void HAL_UART_RxCpltCallback(UART_HandleTypeDef *huart) {
  UiInput::onUartRxComplete(huart);
}

void BSP_PB_Callback(Button_TypeDef Button) {
  UiInput::onUserButtonInterrupt(Button);
}
}
/* USER CODE END 4 */

 /* MPU Configuration */

void MPU_Config(void)
{

  /* Disables the MPU */
  HAL_MPU_Disable();
  /* Enables the MPU */
  HAL_MPU_Enable(MPU_PRIVILEGED_DEFAULT);

}

void Error_Handler(void)
{
  __disable_irq();
  while (1) {
  }
}

#ifdef  USE_FULL_ASSERT
/**
  * @brief  Reports the name of the source file and the source line number
  *         where the assert_param error has occurred.
  * @param  file: pointer to the source file name
  * @param  line: assert_param error line source number
  * @retval None
  */
void assert_failed(uint8_t *file, uint32_t line)
{
  /* USER CODE BEGIN 6 */
  /* User can add his own implementation to report the file name and line
     number, ex: printf("Wrong parameters value: file %s on line %d\r\n", file,
     line) */
  /* USER CODE END 6 */
}
#endif /* USE_FULL_ASSERT */
